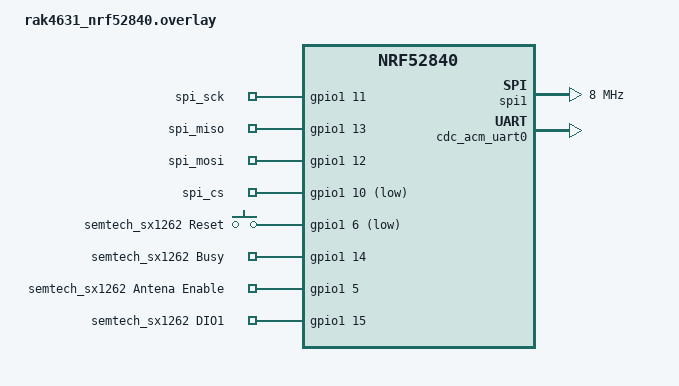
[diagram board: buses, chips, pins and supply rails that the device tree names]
/*
 * Copyright (c) 2023 Nordic Semiconductor ASA
 *
 * SPDX-License-Identifier: LicenseRef-Nordic-5-Clause
 */

&spi3 {
	status = "disabled";
};

&spi2 {
	compatible = "nordic,nrf-spi";
	// This is the SPI instance used by the SX1262 driver
	// It is disabled to use nrfx_spi_gpios pins instead
	status = "disabled";
};

&spi1 {
	compatible = "nordic,nrf-spi";
	clock-frequency = <DT_FREQ_M(8)>;
	/delete-property/ cs-gpios;
	lora: lora@0 {
		status = "disabled";
	};
};

&uart0 {
	status = "disabled";
};

&i2c0 {
	status = "disabled";
};

/{
	nrfx_spi_gpios{
		compatible = "gpio-keys";
		nrfx_spi_sck: sck {
			gpios = <&gpio1 11 GPIO_ACTIVE_HIGH>;
			label = "spi_sck";
		};
		nrfx_spi_miso: miso {
			gpios = <&gpio1 13 GPIO_ACTIVE_HIGH>;
			label = "spi_miso";
		};
		nrfx_spi_mosi: mosi {
			gpios = <&gpio1 12 GPIO_ACTIVE_HIGH>;
			label = "spi_mosi";
		};
		nrfx_spi_cs: cs {
			gpios = <&gpio1 10 GPIO_ACTIVE_LOW>;
			label = "spi_cs";
		};
	};

	semtech_sx1262_gpios{
		compatible = "gpio-keys";
		semtech_sx1262_reset_gpios: reset {
			gpios = <&gpio1 6 (GPIO_ACTIVE_LOW|GPIO_PULL_UP)>;
			label = "semtech_sx1262 Reset";
		};
		semtech_sx1262_busy_gpios: busy {
			gpios = <&gpio1 14 GPIO_ACTIVE_HIGH>;
			label = "semtech_sx1262 Busy";
		};
		semtech_sx1262_antenna_enable_gpios: antena_enable {
			gpios = <&gpio1 5 GPIO_ACTIVE_HIGH>;
			label = "semtech_sx1262 Antena Enable";
		};
		semtech_sx1262_dio1_gpios: dio1 {
			gpios = <&gpio1 15 (GPIO_ACTIVE_HIGH|GPIO_PULL_DOWN)>;
			label = "semtech_sx1262 DIO1";
		};
	};

	chosen {
		zephyr,console = &cdc_acm_uart0;
		zephyr,shell-uart = &cdc_acm_uart0;
	};
};

&zephyr_udc0 {
	cdc_acm_uart0: cdc_acm_uart0 {
		compatible = "zephyr,cdc-acm-uart";
	};
};
